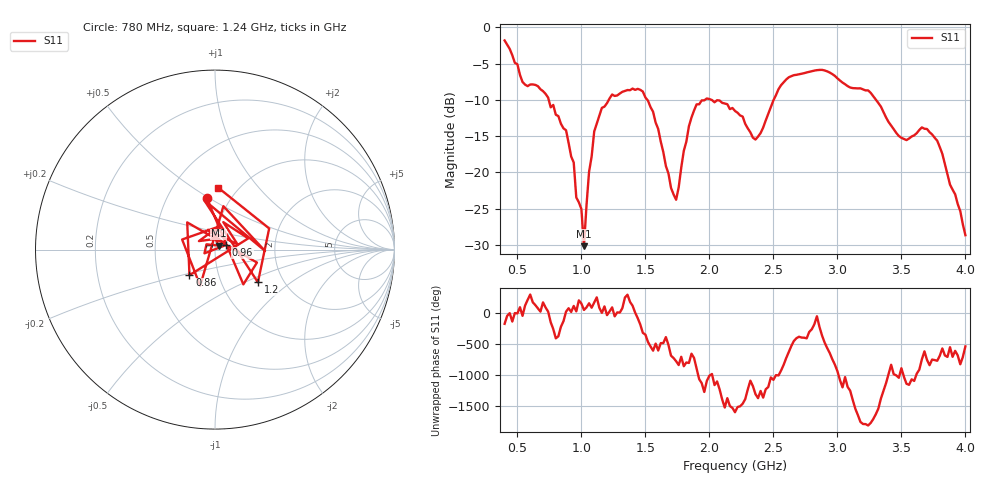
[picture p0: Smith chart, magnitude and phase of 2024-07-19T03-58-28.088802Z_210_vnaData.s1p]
!Created with skrf (http://scikit-rf.org).
# Hz S RI R 50.0
!freq ReS11 ImS11
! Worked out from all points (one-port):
!   181 points, 400 MHz to 4 GHz, reference 50 ohm
!   lowest |S11| = -30.2 dB at 1.02 GHz (marker M1), VSWR 1.06, Z = 52.2 + j2.31 ohm
!   |S11| at or under -10 dB: 744.9 MHz to 1.213 GHz (468.6 MHz wide, 47.9 % of centre); 2.018 GHz to 2.502 GHz (483.4 MHz wide, 21.4 % of centre); 3.302 GHz to end of sweep (the widest 3 of 4)
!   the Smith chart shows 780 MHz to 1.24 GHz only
!   S11 on the Smith chart (normalised r, x): 780 MHz: 0.78, +0.49; 860 MHz: 0.72, -0.22; 960 MHz: 1.13, +0.06; 1.2 GHz: 1.49, -0.60; 1.24 GHz: 0.81, +0.64
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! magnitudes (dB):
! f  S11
! 400 MHz  -1.8
! 540 MHz  -7.5
! 780 MHz  -10.7
! 860 MHz  -13.9
! 940 MHz  -18.6
! 960 MHz  -23.4
! 1 GHz  -25.0
! 1.02 GHz  -30.2
! 1.06 GHz  -19.9
! 1.1 GHz  -14.4
! 1.2 GHz  -10.4
! 1.24 GHz  -9.2
! 1.3 GHz  -9.1
! 1.48 GHz  -8.8
! 1.6 GHz  -14.0
! 1.7 GHz  -22.1
! 1.74 GHz  -23.8
! 1.76 GHz  -22.1
! 1.84 GHz  -13.6
! 1.9 GHz  -10.6
! 2.2 GHz  -11.5
! 2.36 GHz  -15.5
! 2.66 GHz  -6.6
! 3.1 GHz  -8.3
! 3.24 GHz  -8.7
! 3.56 GHz  -15.3
! 3.78 GHz  -15.6
! 4 GHz  -28.7
